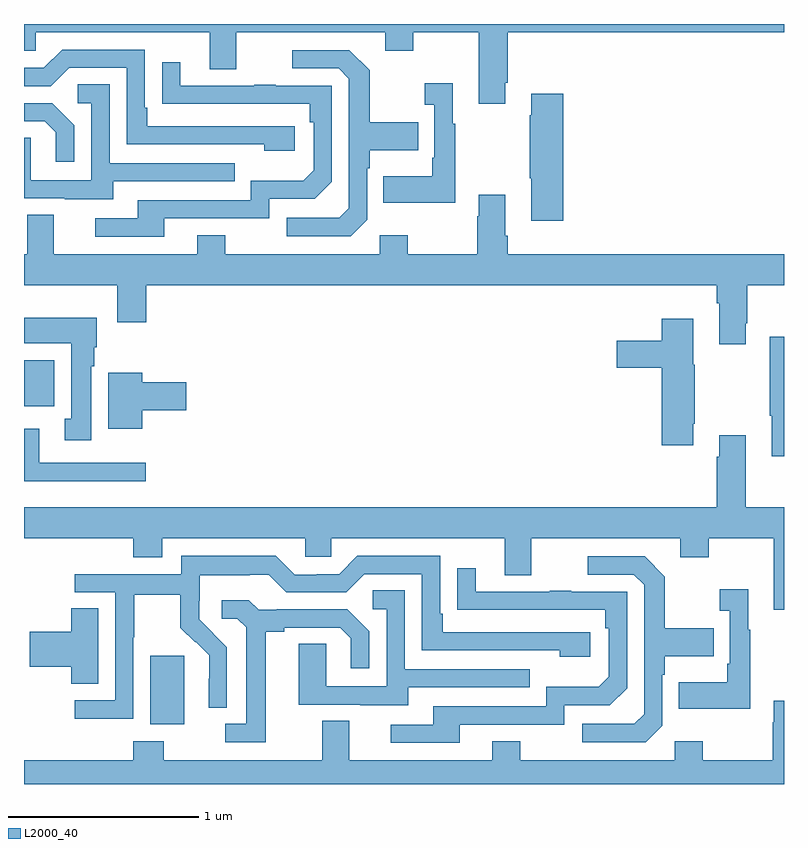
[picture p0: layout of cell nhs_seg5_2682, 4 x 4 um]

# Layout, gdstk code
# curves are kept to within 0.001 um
import gdstk
lib = gdstk.Library(unit=1e-6, precision=1e-09)
def R(c, l, rs):  # rectangles x0, y0, x1, y1
    for r in rs: c.add(gdstk.rectangle(r[:2], r[2:], *l))
def P(c, l, *ps):  # polygons
    for p in ps: c.add(gdstk.Polygon(p, *l))
L2000_40 = (2000, 40)

nhs_seg5_2682 = lib.new_cell('nhs_seg5_2682')
R(nhs_seg5_2682, L2000_40, [(267.665,857.114,267.844,857.475), (267,858.788,267.16,859.03)])
P(nhs_seg5_2682, L2000_40, [(269.533,860.491),(269.546,860.491),(269.546,860.756),(271,860.756),(271,860.799),(267,860.799),(267,860.658),(267.063,860.658),(267.063,860.756),(267.977,860.756),(267.977,860.562),(268.117,860.562),(268.117,860.756),(268.901,860.756),(268.901,860.657),(269.049,860.657),(269.049,860.756),(269.393,860.756),(269.393,860.379),(269.533,860.379)],
  [(268.426,860.262),(267.649,860.262),(267.649,860.359),(267.636,860.359),(267.636,860.664),(267.201,860.664),(267.105,860.568),(267,860.568),(267,860.472),(267.141,860.472),(267.237,860.568),(267.54,860.568),(267.54,860.166),(268.265,860.166),(268.265,860.132),(268.426,860.132)],
  [(268.806,859.77),(268.806,860.039),(268.819,860.039),(268.819,860.135),(269.075,860.135),(269.075,860.283),(268.819,860.283),(268.819,860.555),(268.713,860.661),(268.413,860.661),(268.413,860.565),(268.656,860.565),(268.71,860.511),(268.71,859.83),(268.659,859.779),(268.383,859.779),(268.383,859.683),(268.719,859.683)],
  [(267.739,859.776),(268.29,859.776),(268.29,859.878),(268.53,859.878),(268.62,859.968),(268.62,860.475),(268.325,860.475),(268.325,860.48),(268.213,860.48),(268.213,860.475),(267.823,860.475),(267.823,860.599),(267.727,860.599),(267.727,860.38),(268.504,860.379),(268.504,860.282),(268.524,860.282),(268.524,860.028),(268.471,859.975),(268.194,859.975),(268.194,859.872),(267.599,859.872),(267.599,859.776),(267.375,859.776),(267.375,859.68),(267.739,859.68)],
  [(269.269,860.275),(269.257,860.275),(269.257,860.488),(269.109,860.488),(269.109,860.375),(269.16,860.375),(269.16,860.095),(269.148,860.095),(269.148,859.999),(268.891,859.999),(268.891,859.859),(269.269,859.859)],
  [(267.469,859.971),(268.109,859.971),(268.109,860.067),(267.45,860.067),(267.45,860.483),(267.282,860.483),(267.282,860.382),(267.354,860.382),(267.354,859.977),(267.036,859.977),(267.036,860.201),(267,860.201),(267,859.881),(267.215,859.881),(267.215,859.877),(267.469,859.877)],
  [(269.837,860.431),(269.669,860.431),(269.669,860.318),(269.662,860.318),(269.662,859.987),(269.669,859.987),(269.669,859.764),(269.837,859.764)],
  [(267.264,860.266),(267.148,860.382),(267,860.382),(267,860.286),(267.11,860.286),(267.167,860.229),(267.167,860.073),(267.264,860.073)],
  [(270.799,859.225),(270.807,859.225),(270.807,859.424),(271,859.424),(271,859.588),(269.546,859.588),(269.546,859.684),(269.533,859.684),(269.533,859.9),(269.393,859.9),(269.393,859.787),(269.386,859.787),(269.386,859.588),(269.019,859.588),(269.019,859.687),(268.872,859.687),(268.872,859.588),(268.059,859.588),(268.059,859.687),(267.911,859.687),(267.911,859.588),(267.157,859.588),(267.157,859.796),(267.017,859.796),(267.017,859.588),(267,859.588),(267,859.424),(267.491,859.424),(267.491,859.23),(267.644,859.23),(267.644,859.424),(270.647,859.424),(270.647,859.328),(270.659,859.328),(270.659,859.113),(270.799,859.113)],
  [(267.355,858.998),(267.37,858.998),(267.37,859.098),(267.382,859.098),(267.382,859.252),(267,859.252),(267,859.118),(267.248,859.118),(267.248,858.722),(267.215,858.722),(267.215,858.609),(267.355,858.609)],
  [(270.523,858.694),(270.531,858.694),(270.531,859.005),(270.523,859.005),(270.523,859.249),(270.356,859.249),(270.356,859.131),(270.12,859.131),(270.12,858.989),(270.356,858.989),(270.356,858.582),(270.523,858.582)],
  [(271,859.153),(270.924,859.153),(270.924,858.737),(270.935,858.737),(270.935,858.525),(271,858.525)],
  [(267.622,858.767),(267.853,858.767),(267.853,858.914),(267.622,858.914),(267.622,858.964),(267.443,858.964),(267.443,858.668),(267.622,858.668)],
  [(267.64,858.489),(267.079,858.489),(267.079,858.67),(267,858.67),(267,858.392),(267.64,858.392)],
  [(271,858.256),(270.799,858.256),(270.799,858.634),(270.659,858.634),(270.659,858.521),(270.647,858.521),(270.647,858.256),(267,858.256),(267,858.092),(267.575,858.092),(267.575,857.993),(267.727,857.993),(267.727,858.092),(268.479,858.092),(268.479,857.994),(268.617,857.994),(268.617,858.092),(269.531,858.092),(269.531,857.898),(269.671,857.898),(269.671,858.092),(270.455,858.092),(270.455,857.993),(270.603,857.993),(270.603,858.092),(270.947,858.092),(270.947,857.715),(271,857.715)],
  [(267.576,857.572),(267.579,857.572),(267.579,857.796),(267.823,857.796),(267.823,857.621),(267.9,857.544),(267.903,857.547),(267.974,857.477),(267.974,857.354),(267.972,857.354),(267.972,857.2),(268.068,857.2),(268.068,857.518),(267.922,857.666),(267.922,857.763),(267.924,857.763),(267.924,857.897),(268.187,857.897),(268.187,857.901),(268.287,857.901),(268.38,857.808),(268.695,857.808),(268.791,857.904),(269.094,857.904),(269.094,857.502),(269.819,857.502),(269.819,857.468),(269.98,857.468),(269.98,857.598),(269.203,857.598),(269.203,857.695),(269.19,857.695),(269.19,858),(268.755,858),(268.659,857.904),(268.541,857.904),(268.541,857.901),(268.425,857.901),(268.325,858.001),(267.828,858.001),(267.828,857.904),(267.267,857.904),(267.267,857.808),(267.48,857.808),(267.48,857.241),(267.267,857.241),(267.267,857.143),(267.576,857.143)],
  [(270.36,857.106),(270.36,857.375),(270.373,857.375),(270.373,857.471),(270.629,857.471),(270.629,857.619),(270.373,857.619),(270.373,857.891),(270.267,857.997),(269.967,857.997),(269.967,857.901),(270.21,857.901),(270.264,857.847),(270.264,857.166),(270.213,857.115),(269.937,857.115),(269.937,857.019),(270.273,857.019)],
  [(269.293,857.112),(269.844,857.112),(269.844,857.214),(270.084,857.214),(270.174,857.304),(270.174,857.811),(269.879,857.811),(269.879,857.816),(269.767,857.816),(269.767,857.811),(269.377,857.811),(269.377,857.935),(269.281,857.935),(269.281,857.716),(270.058,857.715),(270.058,857.618),(270.078,857.618),(270.078,857.364),(270.025,857.311),(269.748,857.311),(269.748,857.208),(269.153,857.208),(269.153,857.112),(268.929,857.112),(268.929,857.016),(269.293,857.016)],
  [(270.823,857.611),(270.811,857.611),(270.811,857.824),(270.663,857.824),(270.663,857.711),(270.714,857.711),(270.714,857.431),(270.702,857.431),(270.702,857.335),(270.445,857.335),(270.445,857.195),(270.823,857.195)],
  [(269.023,857.307),(269.663,857.307),(269.663,857.403),(269.004,857.403),(269.004,857.819),(268.836,857.819),(268.836,857.718),(268.908,857.718),(268.908,857.313),(268.59,857.313),(268.59,857.537),(268.445,857.537),(268.445,857.217),(268.769,857.217),(268.769,857.213),(269.023,857.213)],
  [(268.273,857.6),(268.369,857.6),(268.369,857.622),(268.664,857.622),(268.721,857.565),(268.721,857.409),(268.818,857.409),(268.818,857.602),(268.702,857.718),(268.33,857.718),(268.33,857.715),(268.236,857.715),(268.184,857.767),(268.041,857.767),(268.041,857.67),(268.122,857.67),(268.169,857.623),(268.169,857.115),(268.059,857.115),(268.059,857.019),(268.273,857.019)],
  [(267.391,857.723),(267.248,857.723),(267.248,857.6),(267.03,857.6),(267.03,857.417),(267.248,857.417),(267.248,857.326),(267.391,857.326)],
  [(271,857.236),(270.947,857.236),(270.947,857.123),(270.94,857.123),(270.94,856.924),(270.573,856.924),(270.573,857.023),(270.426,857.023),(270.426,856.924),(269.613,856.924),(269.613,857.023),(269.465,857.023),(269.465,856.924),(268.711,856.924),(268.711,857.132),(268.571,857.132),(268.571,856.924),(267.735,856.924),(267.735,857.023),(267.575,857.023),(267.575,856.924),(267,856.924),(267,856.799),(271,856.799)])

lib.write_gds('nhs_seg5_2682.gds')
